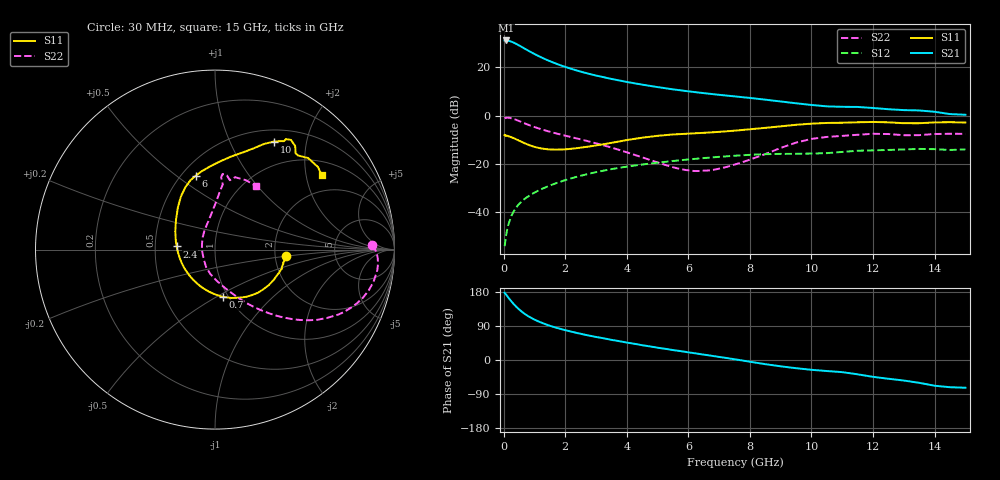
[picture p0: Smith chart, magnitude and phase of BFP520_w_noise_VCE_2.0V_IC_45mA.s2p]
! Infineon Technologies  Discrete & RF Semiconductors
! BFP520
! VCE =  2.0 V,  IC =  45 mA
! Common Emitter S-Parameters:  Oct 2015
# GHz  S  MA  R  50
!  f  S11  S21  S12  S22
! GHz  MAG  ANG  MAG  ANG  MAG  ANG  MAG  ANG
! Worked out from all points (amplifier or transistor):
!   109 points, 30 MHz to 15 GHz, reference 50 ohm
!   highest |S21| = 31.1 dB at 70 MHz (marker M1)
!   |S21| within 3 dB of that: start of sweep to 630.2 MHz
!   unconditionally stable (mu >= 1): start of sweep to 45.48 MHz; 1.883 GHz to end of sweep
!   at 450 MHz: K = 0.50, MSG = 33.4 dB, |S12| = -37.3 dB
!   at 4 GHz: K = 1.17, MAG = 15.0 dB, |S12| = -21.1 dB
!   at 15 GHz: K = 1.28, MAG = 4.0 dB, |S12| = -13.9 dB
!   lowest NFmin = 3.07 dB at 450 MHz
!   S11 on the Smith chart (normalised r, x): 30 MHz: 2.30, -0.20; 700 MHz: 0.94, -0.53; 2.4 GHz: 0.65, +0.02; 6 GHz: 0.59, +0.59; 10 GHz: 0.65, +1.48; 15 GHz: 1.42, +2.46
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0.03  0.3977 -5.3  35.92 177.7  0.002 110.4  0.8759 1.5
0.07  0.3869 -10.7  36.09 173.3  0.0031 95.4  0.9031 -1.8
0.14  0.3801 -19.6  35.72 166.0  0.0052 85.2  0.9112 -7.2
0.2  0.3685 -27.3  34.96 159.7  0.0069 82.2  0.9012 -11.5
0.3  0.3484 -39.5  33.1 149.9  0.0098 77.9  0.8675 -17.9
0.35  0.3387 -45.4  32 145.4  0.0111 76.6  0.846 -20.7
0.5  0.3044 -61.3  28.46 133.6  0.0149 73.5  0.7766 -27.8
0.7  0.2668 -80.6  24.09 120.8  0.0194 70.8  0.6882 -34.7
0.8  0.2509 -89.2  22.16 115.5  0.0215 69.9  0.6496 -37.3
1  0.227 -105.4  18.95 106.7  0.0256 68.5  0.5835 -41.7
1.3  0.2068 -126.9  15.29 96.2  0.0318 66.9  0.507 -46.8
1.7  0.1991 -151.8  11.98 85.3  0.0401 64.8  0.4313 -52.2
2.4  0.2144 175.3  8.539 70.9  0.055 60.0  0.3357 -60.4
2.6  0.2233 167.8  7.864 67.4  0.0593 58.5  0.3124 -62.7
3.5  0.275 142.1  5.771 53.1  0.0785 50.5  0.2194 -75.7
5.1  0.3891 114.2  3.83 31.3  0.1085 35.5  0.1031 -120.3
6  0.4258 104.5  3.199 20.2  0.1246 27.4  0.074 -156.0
7.6  0.4973 85.6  2.478 0.7  0.1499 11.8  0.1018 130.7
10  0.6858 61.4  1.669 -25.9  0.1647 -9.6  0.3315 84.9
10.5  0.709 58.5  1.562 -29.1  0.1685 -11.8  0.3644 83.2
13  0.7001 50.1  1.307 -54.2  0.2006 -33.4  0.3951 77.9
15  0.7238 34.8  1.048 -73.2  0.2011 -49.9  0.4214 57.6
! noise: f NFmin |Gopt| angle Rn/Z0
0.45  3.07  0.16  -154  0.29
0.9  3.08  0.17  -149  0.32
1.9  3.17  0.24  -125  0.36
2.4  3.18  0.24  -123  0.34
3.5  3.14  0.23  -108  0.41
